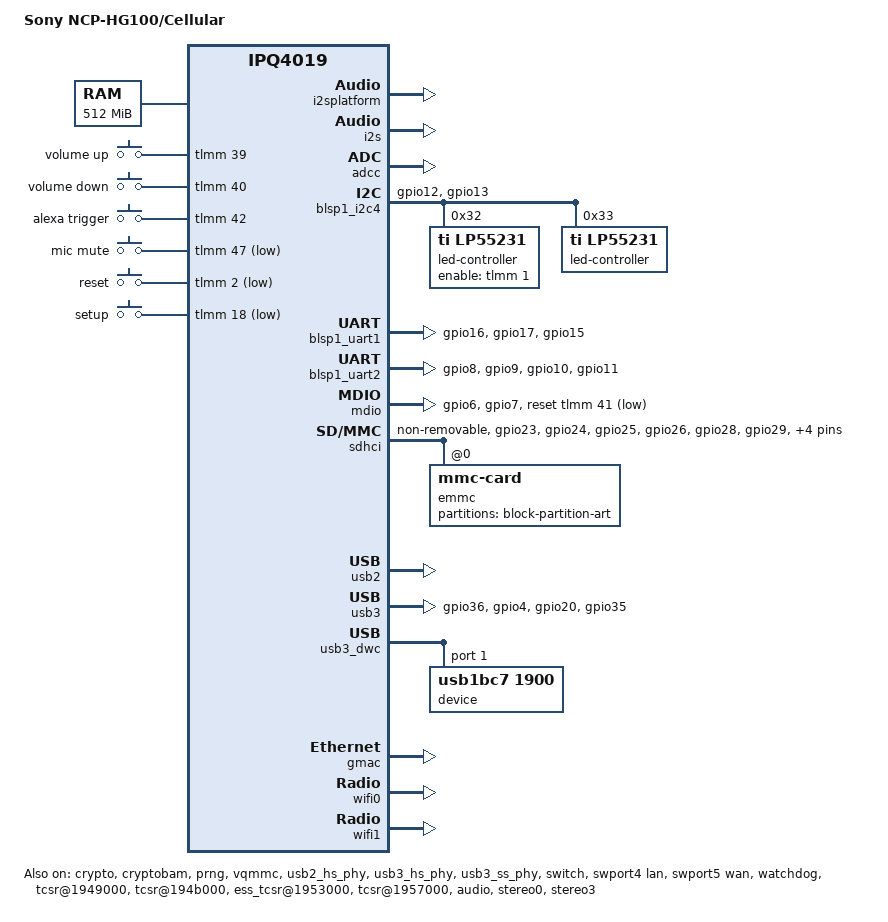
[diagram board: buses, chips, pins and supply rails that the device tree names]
// SPDX-License-Identifier: GPL-2.0-only OR MIT

#include "qcom-ipq4019.dtsi"

#include <dt-bindings/gpio/gpio.h>
#include <dt-bindings/input/input.h>
#include <dt-bindings/leds/common.h>
#include <dt-bindings/soc/qcom,tcsr.h>
#include <dt-bindings/sound/ipq4019-audio.h>
#include <dt-bindings/clock/qca,adcc-ipq4019.h>

/ {
	model = "Sony NCP-HG100/Cellular";
	compatible = "sony,ncp-hg100-cellular";

	aliases {
		// TODO: Verify if the ethernet0 alias is needed
		ethernet0 = &gmac;
		led-boot = &led_cloud_green;
		led-failsafe = &led_cloud_red;
		led-running = &led_cloud_green;
		led-upgrade = &led_cloud_green;
		label-mac-device = &gmac;
	};

	chosen {
		bootargs = "console=ttyMSM0,115200n8 root=/dev/mmcblk0p15 rootfstype=squashfs,ext4";
	};

	memory {
		device_type = "memory";
		reg = <0x80000000 0x20000000>;
	};

	soc {
		tcsr@1949000 {
			status = "okay";
			compatible = "qcom,tcsr";
			reg = <0x1949000 0x100>;
			qcom,wifi_glb_cfg = <TCSR_WIFI_GLB_CFG>;
		};

		tcsr@194b000 {
			status = "okay";
			compatible = "qcom,tcsr";
			reg = <0x194b000 0x100>;
			qcom,usb-hsphy-mode-select = <TCSR_USB_HSPHY_HOST_MODE>;
		};

		ess_tcsr@1953000 {
			status = "okay";
			compatible = "qcom,tcsr";
			reg = <0x1953000 0x1000>;
			qcom,ess-interface-select = <TCSR_ESS_PSGMII>;
		};

		tcsr@1957000 {
			status = "okay";
			compatible = "qcom,tcsr";
			reg = <0x1957000 0x100>;
			qcom,wifi_noc_memtype_m0_m2 = <TCSR_WIFI_NOC_MEMTYPE_M0_M2>;
		};
	};

	keys-repeat {
		compatible = "gpio-keys";
		pinctrl-0 = <&keys_pins>;
		pinctrl-names = "default";
		autorepeat;

		key-volup {
			label = "volume up";
			linux,code = <KEY_VOLUMEUP>;
			gpios = <&tlmm 39 GPIO_ACTIVE_HIGH>;
			linux,input-type = <EV_KEY>;
		};

		key-voldown {
			label = "volume down";
			linux,code = <KEY_VOLUMEDOWN>;
			gpios = <&tlmm 40 GPIO_ACTIVE_HIGH>;
			linux,input-type = <EV_KEY>;
		};

		key-alexatrigger {
			label = "alexa trigger";
			linux,code = <BTN_0>;
			gpios = <&tlmm 42 GPIO_ACTIVE_HIGH>;
			linux,input-type = <EV_KEY>;
		};

		key-mute {
			label = "mic mute";
			linux,code = <BTN_1>;
			gpios = <&tlmm 47 GPIO_ACTIVE_LOW>;
			linux,input-type = <EV_SW>;
		};
	};

	keys {
		compatible = "gpio-keys";

		key-reset {
			label = "reset";
			gpios = <&tlmm 2 GPIO_ACTIVE_LOW>;
			linux,code = <KEY_RESTART>;
		};

		key-wps {
			label = "setup";
			gpios = <&tlmm 18 GPIO_ACTIVE_LOW>;
			linux,code = <KEY_WPS_BUTTON>;
		};
	};
};

&tlmm {
	pinctrl-0 = <&bt_pins>, <&aud_pins>, <&mcu_pins>;
	pinctrl-names = "default";

	/*
	 * uart0 is shared for debug console and Z-Wave,
	 * use only for debug console in OpenWrt.
	 *
	 * 1: debug console
	 * 0: Z-Wave
	 */
	uart0_ctrl_pins: uart0_ctrl_pinmux {
		mux {
			pins = "gpio15";
			function = "gpio";
			output-high;
		};
	};

	serial_pins: serial_pinmux {
		mux {
			pins = "gpio16", "gpio17";
			function = "blsp_uart0";
			bias-disable;
		};
	};

	/*
	 * reset pin for Z-Wave
	 * active-low, >= 20ns
	 */
	zwave_pins: zwave_pinmux {
		mux {
			pins = "gpio59";
			function = "gpio";
			output-high;
		};
	};

	serial_1_pins: serial1_pinmux {
		mux {
			pins = "gpio8", "gpio9",
				"gpio10", "gpio11";
			function = "blsp_uart1";
			bias-disable;
		};
	};

	bt_pins: bt_pinmux {
		mux_reset {
			pins = "gpio66";
			function = "gpio";
			output-high;
		};

		mux_pwr {
			pins = "gpio68";
			function = "gpio";
			output-high;
		};
	};

	mdio_pins: mdio_pinmux {
		mux_1 {
			pins = "gpio6";
			function = "mdio";
			bias-pull-up;
		};

		mux_2 {
			pins = "gpio7";
			function = "mdc";
			bias-pull-up;
		};
	};

	i2c_1_pins: i2c_1_pinmux {
		mux {
			pins = "gpio12", "gpio13";
			function = "blsp_i2c1";
			bias-disable;
		};
	};

	keys_pins: keys_pinmux {
		mux_1 {
			pins = "gpio39", "gpio40", "gpio42", "gpio47";
			function = "gpio";
			bias-disable;
		};

		mux_2 {
			pins = "gpio2";
			function = "gpio";
			input;
		};
	};

	sd_pins: sd_pins {
		mux {
			function = "sdio";
			pins = "gpio23", "gpio24", "gpio25", "gpio26",
				"gpio28", "gpio29", "gpio30", "gpio31";
			drive-strength = <4>;
		};

		mux_sd_clk {
			function = "sdio";
			pins = "gpio27";
			drive-strength = <16>;
		};

		mux_sd7 {
			function = "sdio";
			pins = "gpio32";
			drive-strength = <4>;
			bias-disable;
		};
	};

	aud_pins: aud_pinmux {
		mux {
			pins = "gpio48", "gpio49", "gpio50", "gpio51";
			function = "aud_pin";
		};
	};

	alc1304_pins: alc1304_pinmux {
		mux_1 {
			pins = "gpio44";
			function = "gpio";
			bias-disable;
		};

		mux_2 {
			pins = "gpio45";
			function = "gpio";
			bias-disable;
		};
	};

	cx2092x_reset: cx2092x_pinmux {
		mux_1 {
			pins = "gpio64";
			function = "gpio";
			bias-disable;
		};

		mux_2 {
			pins = "gpio65";
			function = "gpio";
			bias-disable;
		};
	};

	lte_pins: lte_pinmux {
		mux_en {
			pins = "gpio20";
			function = "gpio";
			output-high;
		};

		mux_reset {
			pins = "gpio35";
			function = "gpio";
			input;
		};
	};

	usb3_pins: usb3_pinmux {
		mux_en {
			pins = "gpio36";
			function = "gpio";
			output-high;
		};

		mux_flt {
			pins = "gpio4";
			function = "gpio";
			input;
		};
	};

	mcu_pins: mcu_pinmux {
		mux_boot {
			pins = "gpio38";
			function = "gpio";
			output-low;
		};

		mux_reset {
			pins = "gpio5";
			function = "gpio";
			output-high;
		};
	};

	audio_gpio_pins: audio_gpio_pinmux {
		mux_1 {
			pins = "gpio53";
			function = "gpio";
			output-high;
		};
		mux_2 {
			pins = "gpio57";
			function = "gpio";
			output-high;
		};
		mux_3 {
			pins = "gpio54";
			function = "gpio";
			output-high;
		};
	};

	audio_pins: audio_pinmux {
		mux_1 {
			pins = "gpio53";
			function = "i2s_tx_bclk";
		};
		mux_2 {
			pins = "gpio57";
			function = "i2s_tx_fsync";
		};
		mux_3 {
			pins = "gpio54";
			function = "i2s_td1";
		};
	};

	audio1_gpio_pins: audio1_gpio_pinmux {
		mux_1 {
			pins = "gpio60";
			function = "gpio";
			output-high;
		};
		mux_2 {
			pins = "gpio61";
			function = "gpio";
			output-high;
		};
		mux_3 {
			pins = "gpio63";
			function = "gpio";
			output-high;
		};
	};

	audio1_pins: audio1_pinmux {
		mux_1 {
			pins = "gpio60";
			function = "i2s_rx_bclk";
		};
		mux_2 {
			pins = "gpio61";
			function = "i2s_rx_fsync";
		};
		mux_3 {
			pins = "gpio63";
			function = "i2s_rxd";
		};
	};
};

&blsp_dma {
	status = "okay";
};

&blsp1_i2c4 {
	/*
	 * There is no driver for the following devices:
	 * - CY8C4014LQI@14	: Touch-Sensor for buttons on top
	 * - MINI54FDE@15	: MCU for Fan/RGB LED/Thermal control
	 */
	pinctrl-0 = <&i2c_1_pins>;
	pinctrl-names = "default";
	status = "okay";

	led-controller@32 {
		compatible = "ti,lp55231";
		reg = <0x32>;
		clock-mode = /bits/ 8 <0>;
		enable-gpios = <&tlmm 1 GPIO_ACTIVE_HIGH>;
		#address-cells = <1>;
		#size-cells = <0>;

		led@0 {
			chan-name = "green:wan";
			led-cur = /bits/ 8 <50>;
			max-cur = /bits/ 8 <100>;
			reg = <0x0>;
			color = <LED_COLOR_ID_GREEN>;
			function = LED_FUNCTION_WAN;
		};

		led@1 {
			chan-name = "blue:wan";
			led-cur = /bits/ 8 <50>;
			max-cur = /bits/ 8 <100>;
			reg = <0x1>;
			color = <LED_COLOR_ID_BLUE>;
			function = LED_FUNCTION_WAN;
		};

		led@2 {
			chan-name = "green:lan";
			led-cur = /bits/ 8 <50>;
			max-cur = /bits/ 8 <100>;
			reg = <0x2>;
			color = <LED_COLOR_ID_GREEN>;
			function = LED_FUNCTION_LAN;
		};

		led@3 {
			chan-name = "blue:lan";
			led-cur = /bits/ 8 <50>;
			max-cur = /bits/ 8 <100>;
			reg = <0x3>;
			color = <LED_COLOR_ID_BLUE>;
			function = LED_FUNCTION_LAN;
		};

		led@4 {
			chan-name = "green:wlan-2";
			led-cur = /bits/ 8 <50>;
			max-cur = /bits/ 8 <100>;
			reg = <0x4>;
			color = <LED_COLOR_ID_GREEN>;
			function = LED_FUNCTION_WLAN;
			function-enumerator = <2>;
			linux,default-trigger = "phy0tpt";
		};

		led@5 {
			chan-name = "blue:wlan-2";
			led-cur = /bits/ 8 <50>;
			max-cur = /bits/ 8 <100>;
			reg = <0x5>;
			color = <LED_COLOR_ID_BLUE>;
			function = LED_FUNCTION_WLAN;
			function-enumerator = <2>;
		};

		led@6 {
			chan-name = "red:wan";
			led-cur = /bits/ 8 <50>;
			max-cur = /bits/ 8 <100>;
			reg = <0x6>;
			color = <LED_COLOR_ID_RED>;
			function = LED_FUNCTION_WAN;
		};

		led@7 {
			chan-name = "red:lan";
			led-cur = /bits/ 8 <50>;
			max-cur = /bits/ 8 <100>;
			reg = <0x7>;
			color = <LED_COLOR_ID_RED>;
			function = LED_FUNCTION_LAN;
		};

		led@8 {
			chan-name = "red:wlan-2";
			led-cur = /bits/ 8 <50>;
			max-cur = /bits/ 8 <100>;
			reg = <0x8>;
			color = <LED_COLOR_ID_RED>;
			function = LED_FUNCTION_WLAN;
			function-enumerator = <2>;
		};
	};

	led-controller@33 {
		compatible = "ti,lp55231";
		reg = <0x33>;
		clock-mode = /bits/ 8 <0>;
		#address-cells = <1>;
		#size-cells = <0>;

		led@0 {
			chan-name = "green:wlan-5";
			led-cur = /bits/ 8 <50>;
			max-cur = /bits/ 8 <100>;
			reg = <0x0>;
			color = <LED_COLOR_ID_GREEN>;
			function = LED_FUNCTION_WLAN;
			linux,default-trigger = "phy1tpt";
			function-enumerator = <5>;
		};

		led@1 {
			chan-name = "blue:wlan-5";
			led-cur = /bits/ 8 <50>;
			max-cur = /bits/ 8 <100>;
			reg = <0x1>;
			color = <LED_COLOR_ID_BLUE>;
			function = LED_FUNCTION_WLAN;
			function-enumerator = <5>;
		};

		led@2 {
			chan-name = "green:wan-4";
			led-cur = /bits/ 8 <50>;
			max-cur = /bits/ 8 <100>;
			reg = <0x2>;
			color = <LED_COLOR_ID_GREEN>;
			function = LED_FUNCTION_WAN; /* WWAN/LTE/4G */
			function-enumerator = <4>; /* WWAN/LTE/4G */
		};

		led@3 {
			chan-name = "blue:wan-4";
			led-cur = /bits/ 8 <50>;
			max-cur = /bits/ 8 <100>;
			reg = <0x3>;
			color = <LED_COLOR_ID_BLUE>;
			function = LED_FUNCTION_WAN; /* WWAN/LTE/4G */
			function-enumerator = <4>; /* WWAN/LTE/4G */
		};

		led_cloud_green: led@4 {
			chan-name = "green:power";
			led-cur = /bits/ 8 <50>;
			max-cur = /bits/ 8 <100>;
			reg = <0x4>;
			color = <LED_COLOR_ID_GREEN>;
			function = LED_FUNCTION_POWER;
		};

		led@5 {
			chan-name = "blue:power";
			led-cur = /bits/ 8 <50>;
			max-cur = /bits/ 8 <100>;
			reg = <0x5>;
			color = <LED_COLOR_ID_BLUE>;
			function = LED_FUNCTION_POWER;
		};

		led@6 {
			chan-name = "red:wlan-5";
			led-cur = /bits/ 8 <50>;
			max-cur = /bits/ 8 <100>;
			reg = <0x6>;
			color = <LED_COLOR_ID_RED>;
			function = LED_FUNCTION_WLAN;
			function-enumerator = <5>;
		};

		led@7 {
			chan-name = "red:wan-4";
			led-cur = /bits/ 8 <50>;
			max-cur = /bits/ 8 <100>;
			reg = <0x7>;
			color = <LED_COLOR_ID_RED>;
			function = LED_FUNCTION_WAN; /* WWAN/LTE/4G */
			function-enumerator = <4>; /* WWAN/LTE/4G */
		};

		led_cloud_red: led@8 {
			chan-name = "red:power";
			led-cur = /bits/ 8 <50>;
			max-cur = /bits/ 8 <100>;
			reg = <0x8>;
			color = <LED_COLOR_ID_RED>;
			function = LED_FUNCTION_POWER;
		};

		rt5628@18 {
			compatible = "realtek,rt5628";
			reg = <0x18>;
			pinctrl-0 = <&alc1304_pins>;
			pinctrl-names = "default";
			shutdown-gpios = <&tlmm 44 GPIO_ACTIVE_LOW>;
			mute-gpios = <&tlmm 45 GPIO_ACTIVE_HIGH>;
		};

		conexant@41 {
			compatible = "conexant,cx20924";
			reg = <0x41>;
			conexant,name = "cx2092x";
			pinctrl-0 = <&cx2092x_reset>;
			pinctrl-names = "default";
			reset-gpios = <&tlmm 65 GPIO_ACTIVE_HIGH>;
		};
	};
};

&blsp1_uart1 {
	pinctrl-0 = <&serial_pins>, <&uart0_ctrl_pins>;
	pinctrl-names = "default";
	status = "okay";
};

&blsp1_uart2 {
	pinctrl-0 = <&serial_1_pins>;
	pinctrl-names = "default";
	status = "okay";
};

&crypto {
	status = "okay";
};

&cryptobam {
	status = "okay";
};

&mdio {
	status = "okay";
	pinctrl-0 = <&mdio_pins>;
	pinctrl-names = "default";
	reset-gpios = <&tlmm 41 GPIO_ACTIVE_LOW>;
};

&prng {
	status = "okay";
};

&vqmmc {
	status = "okay";
};

&sdhci {
	status = "okay";
	pinctrl-0 = <&sd_pins>;
	pinctrl-names = "default";
	vqmmc-supply = <&vqmmc>;
	non-removable;
	#address-cells = <1>;
	#size-cells = <0>;

	emmc@0 {
		compatible = "mmc-card";
		reg = <0>;

		block {
			compatible = "block-device";
			partitions {
				block-partition-art {
					partname = "ART";

					nvmem-layout {
						compatible = "fixed-layout";
						#address-cells = <1>;
						#size-cells = <1>;

						precal_art_1000: pre-calibration@1000 {
							reg = <0x1000 0x2f20>;
						};

						precal_art_5000: pre-calibration@5000 {
							reg = <0x5000 0x2f20>;
						};
					};
				};
			};
		};
	};
};

&usb2 {
	status = "okay";
};

&usb2_hs_phy {
	status = "okay";
};

&usb3 {
	status = "okay";

	pinctrl-0 = <&usb3_pins>, <&lte_pins>;
	pinctrl-names = "default";
};

&usb3_dwc {
	#address-cells = <1>;
	#size-cells = <0>;

	device@1 {
		compatible = "usb1bc7,1900";
		reg = <1>;
	};
};

&usb3_hs_phy {
	status = "okay";
};

&usb3_ss_phy {
	status = "okay";
};

&gmac {
	status = "okay";
};

&switch {
	status = "okay";
};

&swport4 {
	status = "okay";
	label = "lan";
};

&swport5 {
	status = "okay";
	label = "wan";
};

&wifi0 {
	status = "okay";
	qcom,ath10k-calibration-variant = "Sony-NCP-HG100-Cellular";
	nvmem-cells = <&precal_art_1000>;
	nvmem-cell-names = "pre-calibration";
};

&wifi1 {
	status = "okay";
	qcom,ath10k-calibration-variant = "Sony-NCP-HG100-Cellular";
	nvmem-cells = <&precal_art_5000>;
	nvmem-cell-names = "pre-calibration";
};

&{/soc} {
	audio: audio@7700000 {
		compatible = "qca,ipq4019-audio-adss";
		reg = <0x7700000 0x34>,
		      <0x7707000 0x20>;
		resets = <&gcc GCC_AUDIO_BCR>;
		reset-names = "blk_rst";
		status = "okay";
	};

	mbox0: mbox@7708000 {
		dma-index = <0>;
		compatible = "qca,ipq4019-mbox";
		reg = <0x7708000 0x1000>;
		interrupts = <GIC_SPI 156 IRQ_TYPE_LEVEL_HIGH>;
		tx-channel = <MBOX0_TX_ID>;
		rx-channel = <MBOX0_RX_ID>;
		status = "okay";
	};

	mbox3: mbox@770e000 {
		dma-index = <3>;
		compatible = "qca,ipq4019-mbox";
		reg = <0x770E000 0x1000>;
		interrupts = <GIC_SPI 159 IRQ_TYPE_LEVEL_HIGH>;
		tx-channel = <MBOX3_TX_ID>;
		rx-channel = <MBOX3_RX_ID>;
		status = "okay";
	};

	stereo0: stereo@7709000 {
		stereo-index = <STEREO0_ID>;
		compatible = "qca,ipq4019-stereo";
		reg = <0x7709000 0x1000>;
		status = "okay";
	};

	stereo3: stereo@770f000 {
		stereo-index = <STEREO3_ID>;
		compatible = "qca,ipq4019-stereo";
		reg = <0x770F000 0x1000>;
		status = "okay";
	};

	i2splatform: qca-pcm-i2s@7709000 {
		compatible = "qca,ipq4019-pcm-i2s";
		reg = <0x7709000 0x1000>;
		status = "okay";
	};

	i2s: ipq4019-pcm-i2s@0 {
		compatible = "qca,ipq4019-i2s";
		dma-tx-channel = <MBOX0_TX_ID>;
		stereo-tx-port = <STEREO0_ID>;
		dma-rx-channel = <MBOX3_RX_ID>;
		stereo-rx-port = <STEREO3_ID>;
		clocks = <&adcc ADCC_TXB_CLK_SRC>,
			 <&adcc ADCC_TXM_CLK_SRC>,
			 <&adcc ADCC_RXB_CLK_SRC>,
			 <&adcc ADCC_RXM_CLK_SRC>;
		clock-names = "audio_tx_bclk",
			      "audio_tx_mclk",
			      "audio_rx_bclk",
			      "audio_rx_mclk";
		status = "okay";
	};

	sound: sound@0 {
		compatible = "qca,ipq4019-audio";
		status = "okay";
		pinctrl-0 = <&audio_gpio_pins &audio1_gpio_pins>;
		pinctrl-1 = <&audio_pins &audio1_pins>;
		pinctrl-names = "default", "audio";
	};

	adcc: clock-controller@7700038 {
		compatible = "qca,adcc-ipq4019";
		reg = <0x7700038 0x1c8>;
		status = "okay";
	};
};

&watchdog {
	status = "okay";
};
